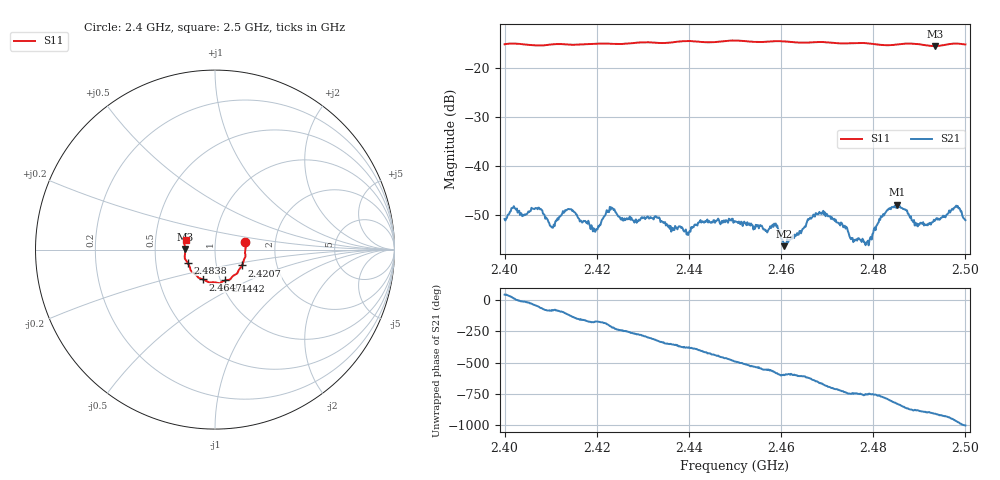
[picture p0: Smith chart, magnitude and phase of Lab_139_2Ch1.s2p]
# Hz S RI R 50
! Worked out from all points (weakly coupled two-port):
!   601 points, 2.4 GHz to 2.5 GHz, reference 50 ohm
!   highest |S21| = -47.83 dB at 2.4852 GHz (marker M1); lowest = -56.3 dB at 2.4607 GHz (marker M2)
!   lowest |S11| = -15.6 dB at 2.4935 GHz (marker M3), VSWR 1.40, Z = 35.8 + j0.143 ohm
!   |S11| at or under -10 dB: start of sweep to end of sweep
!   S12 and S22 are empty: the file has one direction only
!   S11 on the Smith chart (normalised r, x): 2.4 GHz: 1.40, +0.11; 2.4207 GHz: 1.33, -0.24; 2.4442 GHz: 1.05, -0.37; 2.4647 GHz: 0.83, -0.29; 2.4838 GHz: 0.73, -0.11; 2.5 GHz: 0.71, +0.08
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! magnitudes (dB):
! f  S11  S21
! 2.4 GHz  -15.2  -50.8
! 2.407 GHz  -15.5  -48.6
! 2.4103 GHz  -15.3  -52.5
! 2.414 GHz  -15.3  -48.7
! 2.4167 GHz  -15.3  -51.2
! 2.4207 GHz  -15.1  -51.9
! 2.4233 GHz  -15.2  -48.5
! 2.4333 GHz  -15.0  -50.6
! 2.4395 GHz  -14.6  -53.9
! 2.4442 GHz  -14.8  -51.5
! 2.45 GHz  -14.5  -51.3
! 2.4587 GHz  -14.6  -52.0
! 2.4607 GHz  -14.7  -56.3
! 2.4647 GHz  -14.9  -52.8
! 2.4667 GHz  -14.9  -50.5
! 2.4785 GHz  -15.0  -55.5
! 2.4833 GHz  -15.4  -48.7
! 2.4838 GHz  -15.4  -48.8
! 2.4852 GHz  -15.3  -47.8
! 2.4935 GHz  -15.6  -51.0
! 2.498 GHz  -15.1  -48.0
! 2.5 GHz  -15.3  -51.0
